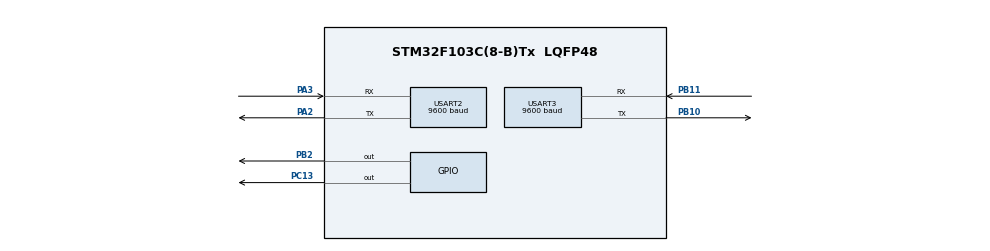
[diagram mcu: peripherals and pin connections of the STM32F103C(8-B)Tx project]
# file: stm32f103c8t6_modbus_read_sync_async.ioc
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Mcu.Family=STM32F1
Mcu.Name=STM32F103C(8-B)Tx
Mcu.Package=LQFP48
NVIC.PriorityGroup=NVIC_PRIORITYGROUP_4
NVIC.USART3_IRQn=true\:0\:0\:false\:false\:true\:true\:true\:true
PA13.Mode=Serial_Wire
PA13.Signal=SYS_JTMS-SWDIO
PA14.Mode=Serial_Wire
PA14.Signal=SYS_JTCK-SWCLK
PA2.Mode=Asynchronous
PA2.Signal=USART2_TX
PA3.Mode=Asynchronous
PA3.Signal=USART2_RX
PB10.Mode=Asynchronous
PB10.Signal=USART3_TX
PB11.Mode=Asynchronous
PB11.Signal=USART3_RX
PB2.Signal=GPIO_Output
PC13-TAMPER-RTC.Signal=GPIO_Output
ProjectManager.HeapSize=0x200
ProjectManager.StackSize=0x400
ProjectManager.TargetToolchain=Makefile
RCC.APB1Freq_Value=8000000
RCC.APB2Freq_Value=8000000
USART2.BaudRate=9600
USART2.VirtualMode=VM_ASYNC
USART3.BaudRate=9600
USART3.VirtualMode=VM_ASYNC
board=custom

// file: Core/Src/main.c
/* USER CODE BEGIN Header */
/**
  ******************************************************************************
  * @file           : main.c
  * @brief          : Main program body
  ******************************************************************************
  * @attention
  *
  * Copyright (c) 2025 STMicroelectronics.
  * All rights reserved.
  *
  * This software is licensed under terms that can be found in the LICENSE file
  * in the root directory of this software component.
  * If no LICENSE file comes with this software, it is provided AS-IS.
  *
  ******************************************************************************
  */
/* USER CODE END Header */
#include "main.h"

/* USER CODE BEGIN Includes */
#include <string.h>
/* USER CODE END Includes */

/* USER CODE BEGIN PD */
//#define ASYNC_MODE
//#define DE_RE_MODE
#define MODBUS_REQ_LEN 8
#define MODBUS_RES_LEN 9
#define MODBUS_TIMEOUT 1000
/* USER CODE END PD */

UART_HandleTypeDef huart2;
UART_HandleTypeDef huart3;

/* USER CODE BEGIN PV */
static uint8_t modbus_req[] = { 0x01, 0x04, 0x00, 0x01, 0x00, 0x02, 0x20, 0x0B };
static uint8_t modbus_res[MODBUS_RES_LEN] = { 0 };

static uint8_t msg_buf[256] = { 0 };

static char receive_str[] = "Receive\r\n";

volatile uint8_t tx_complete = 0;
volatile uint8_t rx_complete = 0;
/* USER CODE END PV */

void SystemClock_Config(void);
static void MX_GPIO_Init(void);
static void MX_USART2_UART_Init(void);
static void MX_USART3_UART_Init(void);

/* USER CODE BEGIN 0 */

static uint8_t getHexValue(uint8_t a) {
  if (a < 10) {
    return '0' + a;
  }

  return 'A' + (a - 10);
}

static void printByteArray(uint8_t *arr, int len) {
  int index = -1;
  for (int i = 0; i < len; ++i) {
    uint8_t hi = (arr[i] >> 4) & 0xF;
    uint8_t lo = arr[i] & 0xF;
    msg_buf[++index] = getHexValue(hi);
    msg_buf[++index] = getHexValue(lo);
    msg_buf[++index] = ' ';
  }

  msg_buf[++index] = '\n';
  msg_buf[++index] = '\r';
  msg_buf[++index] = 0;
}

static void printTempArray(uint8_t *arr, int len) {
  int index = -1;
  int v = (arr[3] << 8) + arr[4];

  uint8_t a = v / 100;
  uint8_t b = (v / 10) % 10;
  uint8_t c = v % 10;

  msg_buf[++index] = 'T';
  msg_buf[++index] = '=';
  msg_buf[++index] = a + '0';
  msg_buf[++index] = b + '0';
  msg_buf[++index] = '.';
  msg_buf[++index] = c + '0';
  msg_buf[++index] = '\n';
  msg_buf[++index] = '\r';
  msg_buf[++index] = 0;
}

static void printHumArray(uint8_t *arr, int len) {
  int index = -1;
  int v = (arr[5] << 8) + arr[6];

  uint8_t a = v / 100;
  uint8_t b = (v / 10) % 10;
  uint8_t c = v % 10;

  msg_buf[++index] = 'H';
  msg_buf[++index] = '=';
  msg_buf[++index] = a + '0';
  msg_buf[++index] = b + '0';
  msg_buf[++index] = '.';
  msg_buf[++index] = c + '0';
  msg_buf[++index] = '\n';
  msg_buf[++index] = '\r';
  msg_buf[++index] = 0;
}

#ifdef ASYNC_MODE
void HAL_UART_TxCpltCallback(UART_HandleTypeDef *huart)
{
  if (huart->Instance == USART3) {
    tx_complete = 1;

    #ifdef DE_RE_MODE
    HAL_GPIO_WritePin(GPIOB, GPIO_PIN_2, GPIO_PIN_RESET);
    #endif
  }
}

void HAL_UART_RxCpltCallback(UART_HandleTypeDef *huart) {
  if (huart->Instance == USART3) {
    rx_complete = 1;
  }
}
#endif

/* USER CODE END 0 */

int main(void)
{

  /* MCU Configuration--------------------------------------------------------*/

  /* Reset of all peripherals, Initializes the Flash interface and the Systick. */
  HAL_Init();

  /* Configure the system clock */
  SystemClock_Config();

  /* Initialize all configured peripherals */
  MX_GPIO_Init();
  MX_USART2_UART_Init();
  MX_USART3_UART_Init();

  /* Infinite loop */
  /* USER CODE BEGIN WHILE */

  char started_str[] = "Started\r\n";
  char send_str[] = "Send\r\n";

  HAL_UART_Transmit(&huart2, (uint8_t*)started_str, strlen(started_str), HAL_MAX_DELAY);

  #ifdef ASYNC_MODE
  HAL_UART_Receive_IT(&huart3, (uint8_t*)modbus_res, MODBUS_RES_LEN);
  #ifdef DE_RE_MODE
  HAL_GPIO_WritePin(GPIOB, GPIO_PIN_2, GPIO_PIN_SET); // Enable Transmit Mode
  #endif
  HAL_UART_Transmit_IT(&huart3, (uint8_t*)modbus_req, MODBUS_REQ_LEN);
  #endif

  while (1)
  {
    #ifndef ASYNC_MODE
    #ifdef DE_RE_MODE
    HAL_GPIO_WritePin(GPIOB, GPIO_PIN_2, GPIO_PIN_SET); // Enable Transmit Mode
    #endif
    HAL_UART_Transmit(&huart3, (uint8_t*)modbus_req, MODBUS_REQ_LEN, MODBUS_TIMEOUT);
    #ifdef DE_RE_MODE
    HAL_GPIO_WritePin(GPIOB, GPIO_PIN_2, GPIO_PIN_RESET);
    #endif
    HAL_UART_Receive(&huart3, (uint8_t*)modbus_res, MODBUS_RES_LEN, MODBUS_TIMEOUT);
    #endif

    #ifdef ASYNC_MODE
    if (rx_complete) {
      rx_complete = 0;
      HAL_UART_Transmit(&huart2, (uint8_t*)send_str, strlen(send_str), HAL_MAX_DELAY);
      printByteArray(modbus_req, MODBUS_REQ_LEN);
      HAL_UART_Transmit(&huart2, (uint8_t*)msg_buf, strlen(msg_buf), HAL_MAX_DELAY);

      HAL_UART_Transmit(&huart2, (uint8_t*)receive_str, strlen(receive_str), HAL_MAX_DELAY);
      printByteArray(modbus_res, MODBUS_RES_LEN);
      HAL_UART_Transmit(&huart2, (uint8_t*)msg_buf, strlen(msg_buf), HAL_MAX_DELAY);

      printTempArray(modbus_res, MODBUS_RES_LEN);
      HAL_UART_Transmit(&huart2, (uint8_t*)msg_buf, strlen(msg_buf), HAL_MAX_DELAY);
      printHumArray(modbus_res, MODBUS_RES_LEN);
      HAL_UART_Transmit(&huart2, (uint8_t*)msg_buf, strlen(msg_buf), HAL_MAX_DELAY);

      HAL_UART_Receive_IT(&huart3, (uint8_t*)modbus_res, MODBUS_RES_LEN);
      #ifdef DE_RE_MODE
      HAL_GPIO_WritePin(GPIOB, GPIO_PIN_2, GPIO_PIN_SET); // Enable Transmit Mode
      #endif
      HAL_UART_Transmit_IT(&huart3, (uint8_t*)modbus_req, MODBUS_REQ_LEN);
    }
    #else
    HAL_UART_Transmit(&huart2, (uint8_t*)send_str, strlen(send_str), HAL_MAX_DELAY);
    printByteArray(modbus_req, MODBUS_REQ_LEN);
    HAL_UART_Transmit(&huart2, (uint8_t*)msg_buf, strlen(msg_buf), HAL_MAX_DELAY);

    HAL_UART_Transmit(&huart2, (uint8_t*)receive_str, strlen(receive_str), HAL_MAX_DELAY);
    printByteArray(modbus_res, MODBUS_RES_LEN);
    HAL_UART_Transmit(&huart2, (uint8_t*)msg_buf, strlen(msg_buf), HAL_MAX_DELAY);

    printTempArray(modbus_res, MODBUS_RES_LEN);
    HAL_UART_Transmit(&huart2, (uint8_t*)msg_buf, strlen(msg_buf), HAL_MAX_DELAY);
    printHumArray(modbus_res, MODBUS_RES_LEN);
    HAL_UART_Transmit(&huart2, (uint8_t*)msg_buf, strlen(msg_buf), HAL_MAX_DELAY);
    #endif

    HAL_GPIO_WritePin(GPIOC, GPIO_PIN_13, GPIO_PIN_SET);
    HAL_Delay(1000);
    HAL_GPIO_WritePin(GPIOC, GPIO_PIN_13, GPIO_PIN_RESET);
    HAL_Delay(1000);

    /* USER CODE END WHILE */

  }
}

void SystemClock_Config(void)
{
  RCC_OscInitTypeDef RCC_OscInitStruct = {0};
  RCC_ClkInitTypeDef RCC_ClkInitStruct = {0};

  /** Initializes the RCC Oscillators according to the specified parameters
  * in the RCC_OscInitTypeDef structure.
  */
  RCC_OscInitStruct.OscillatorType = RCC_OSCILLATORTYPE_HSI;
  RCC_OscInitStruct.HSIState = RCC_HSI_ON;
  RCC_OscInitStruct.HSICalibrationValue = RCC_HSICALIBRATION_DEFAULT;
  RCC_OscInitStruct.PLL.PLLState = RCC_PLL_NONE;
  if (HAL_RCC_OscConfig(&RCC_OscInitStruct) != HAL_OK)
  {
    Error_Handler();
  }

  /** Initializes the CPU, AHB and APB buses clocks
  */
  RCC_ClkInitStruct.ClockType = RCC_CLOCKTYPE_HCLK|RCC_CLOCKTYPE_SYSCLK
                              |RCC_CLOCKTYPE_PCLK1|RCC_CLOCKTYPE_PCLK2;
  RCC_ClkInitStruct.SYSCLKSource = RCC_SYSCLKSOURCE_HSI;
  RCC_ClkInitStruct.AHBCLKDivider = RCC_SYSCLK_DIV1;
  RCC_ClkInitStruct.APB1CLKDivider = RCC_HCLK_DIV1;
  RCC_ClkInitStruct.APB2CLKDivider = RCC_HCLK_DIV1;

  if (HAL_RCC_ClockConfig(&RCC_ClkInitStruct, FLASH_LATENCY_0) != HAL_OK)
  {
    Error_Handler();
  }
}

static void MX_USART2_UART_Init(void)
{

  huart2.Instance = USART2;
  huart2.Init.BaudRate = 9600;
  huart2.Init.WordLength = UART_WORDLENGTH_8B;
  huart2.Init.StopBits = UART_STOPBITS_1;
  huart2.Init.Parity = UART_PARITY_NONE;
  huart2.Init.Mode = UART_MODE_TX_RX;
  huart2.Init.HwFlowCtl = UART_HWCONTROL_NONE;
  huart2.Init.OverSampling = UART_OVERSAMPLING_16;
  if (HAL_UART_Init(&huart2) != HAL_OK)
  {
    Error_Handler();
  }

}

static void MX_USART3_UART_Init(void)
{

  huart3.Instance = USART3;
  huart3.Init.BaudRate = 9600;
  huart3.Init.WordLength = UART_WORDLENGTH_8B;
  huart3.Init.StopBits = UART_STOPBITS_1;
  huart3.Init.Parity = UART_PARITY_NONE;
  huart3.Init.Mode = UART_MODE_TX_RX;
  huart3.Init.HwFlowCtl = UART_HWCONTROL_NONE;
  huart3.Init.OverSampling = UART_OVERSAMPLING_16;
  if (HAL_UART_Init(&huart3) != HAL_OK)
  {
    Error_Handler();
  }

}

static void MX_GPIO_Init(void)
{
  GPIO_InitTypeDef GPIO_InitStruct = {0};

  /* GPIO Ports Clock Enable */
  __HAL_RCC_GPIOC_CLK_ENABLE();
  __HAL_RCC_GPIOA_CLK_ENABLE();
  __HAL_RCC_GPIOB_CLK_ENABLE();

  /*Configure GPIO pin Output Level */
  HAL_GPIO_WritePin(GPIOC, GPIO_PIN_13, GPIO_PIN_RESET);

  /*Configure GPIO pin Output Level */
  HAL_GPIO_WritePin(GPIOB, GPIO_PIN_2, GPIO_PIN_RESET);

  /*Configure GPIO pin : PC13 */
  GPIO_InitStruct.Pin = GPIO_PIN_13;
  GPIO_InitStruct.Mode = GPIO_MODE_OUTPUT_PP;
  GPIO_InitStruct.Pull = GPIO_NOPULL;
  GPIO_InitStruct.Speed = GPIO_SPEED_FREQ_LOW;
  HAL_GPIO_Init(GPIOC, &GPIO_InitStruct);

  /*Configure GPIO pin : PB2 */
  GPIO_InitStruct.Pin = GPIO_PIN_2;
  GPIO_InitStruct.Mode = GPIO_MODE_OUTPUT_PP;
  GPIO_InitStruct.Pull = GPIO_NOPULL;
  GPIO_InitStruct.Speed = GPIO_SPEED_FREQ_LOW;
  HAL_GPIO_Init(GPIOB, &GPIO_InitStruct);

}

void Error_Handler(void)
{
  __disable_irq();
  while (1)
  {
  }
}
